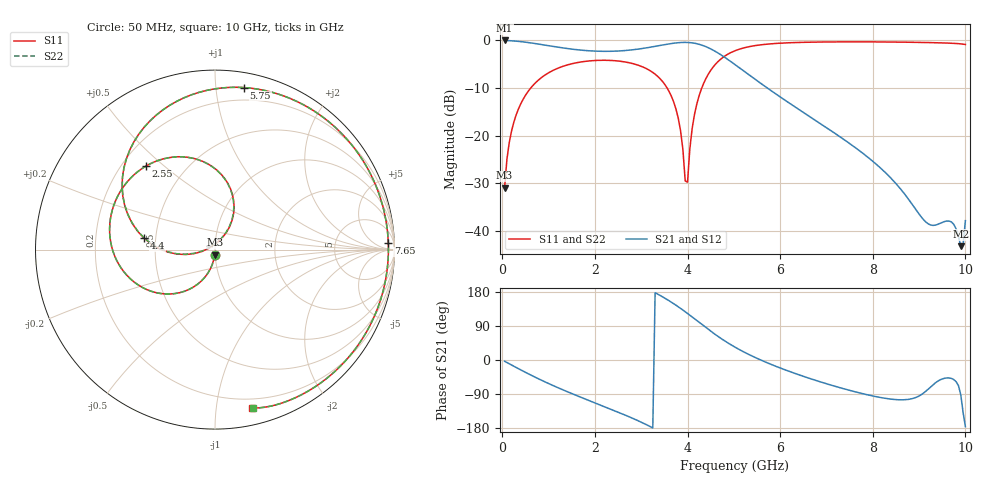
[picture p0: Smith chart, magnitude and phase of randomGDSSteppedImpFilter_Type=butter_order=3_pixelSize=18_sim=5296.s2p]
! freq	dB(S11)	phase(S11)	dB(S12)	phase(S12)
!  dB(S21)	phase(S21)	dB(S22)	phase(S22)
!S-par simulation data
#  GHz  S  DB  R 50
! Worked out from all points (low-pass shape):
!   200 points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, 50 MHz to 10 GHz, reference 50 ohm
!   highest |S21| = -0.01 dB at 50 MHz (marker M1); lowest = -43.2 dB at 9.9 GHz (marker M2)
!   |S21| within 3 dB of the highest: start of sweep to 4.718 GHz
!   lowest |S11| = -30.9 dB at 50 MHz (marker M3), VSWR 1.06, Z = 49.7 - j2.82 ohm
!   |S11| at or under -10 dB: start of sweep to 614.5 MHz; 3.559 GHz to 4.308 GHz (748.4 MHz wide, 19 % of centre)
!   |S22| runs from -30.9 to -0.3 dB; largest |S21 - S12| = 0
!   S11 on the Smith chart (normalised r, x): 50 MHz: 0.99, -0.06; 2.55 GHz: 0.30, +0.43; 4.4 GHz: 0.43, +0.07; 5.75 GHz: 0.10, +1.19; 7.65 GHz: 27, +29; 10 GHz: 0.13, -1.26
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0.05  -30.94 -93.5  -0.01 -3.4  -0.01 -3.4  -30.94 -93.5
0.2  -19.02 -103.7  -0.08 -13.3  -0.08 -13.3  -19.02 -103.7
0.5  -11.54 -123.1  -0.36 -32.5  -0.36 -32.5  -11.54 -123.1
1.05  -6.52 -155.5  -1.18 -64.9  -1.18 -64.9  -6.52 -155.4
1.75  -4.45 168.6  -2.08 -100.9  -2.08 -100.9  -4.45 168.6
2.55  -4.38 129.7  -2.20 -140.0  -2.20 -140.0  -4.38 129.8
3.4  -7.97 82.2  -1.07 170.9  -1.07 170.9  -7.97 82.4
3.75  -14.42 59.8  -0.53 144.6  -0.53 144.6  -14.41 60.4
3.85  -18.99 56.4  -0.44 136.2  -0.44 136.2  -18.96 57.3
3.95  -29.53 81.9  -0.41 127.4  -0.41 127.4  -29.19 84.1
4  -29.76 163.5  -0.43 122.8  -0.43 122.8  -29.39 161.4
4.15  -15.57 -170.5  -0.59 108.9  -0.59 108.9  -15.55 -171.1
4.4  -7.95 170.9  -1.32 85.3  -1.32 85.3  -7.94 170.6
5.05  -2.07 120.1  -5.25 32.2  -5.25 32.2  -2.07 120.1
5.75  -0.75 79.9  -10.18 -8.9  -10.18 -8.9  -0.75 79.8
6.7  -0.36 37.7  -16.40 -51.1  -16.40 -51.1  -0.36 37.7
7.65  -0.30 2.1  -22.72 -84.9  -22.72 -84.9  -0.30 2.1
8.35  -0.33 -21.7  -28.51 -102.6  -28.51 -102.6  -0.33 -21.7
9.2  -0.45 -49.1  -38.55 -76.7  -38.55 -76.7  -0.45 -49.0
9.7  -0.59 -65.4  -38.15 -48.7  -38.15 -48.7  -0.59 -65.3
9.9  -0.72 -72.6  -43.22 -91.4  -43.22 -91.4  -0.72 -72.5
10  -0.85 -76.7  -37.87 -175.8  -37.87 -175.8  -0.85 -76.6
